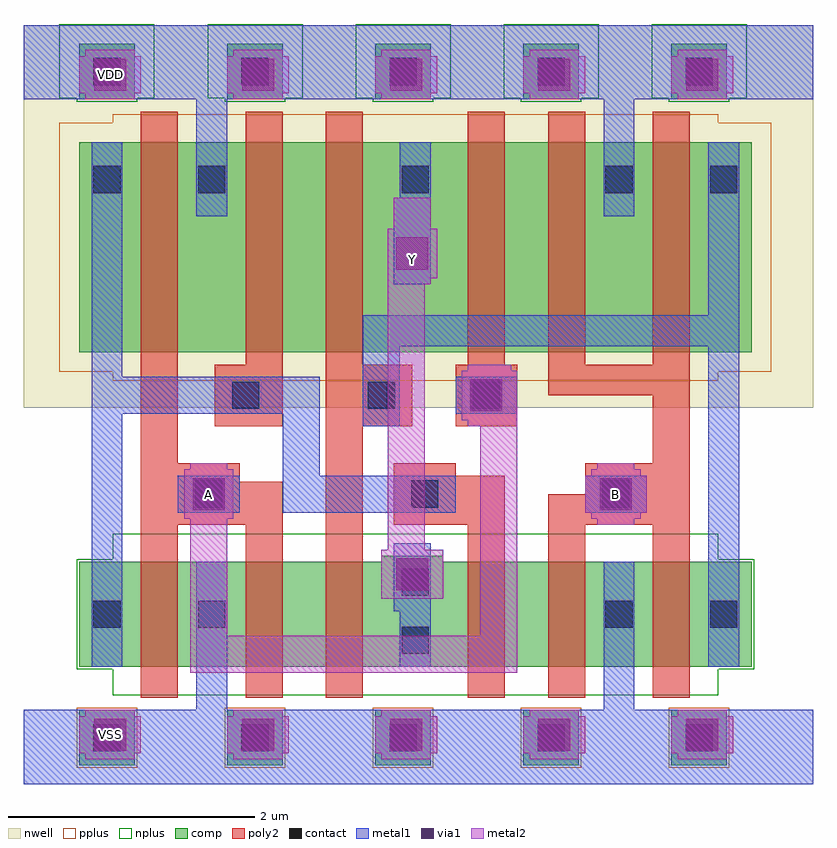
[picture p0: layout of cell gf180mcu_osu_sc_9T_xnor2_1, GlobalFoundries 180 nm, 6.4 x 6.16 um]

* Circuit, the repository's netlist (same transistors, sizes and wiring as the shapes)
* Copyright 2022 Google LLC
*
* Licensed under the Apache License, Version 2.0 (the "License");
* you may not use this file except in compliance with the License.
* You may obtain a copy of the License at
*
*      http://www.apache.org/licenses/LICENSE-2.0
*
* Unless required by applicable law or agreed to in writing, software
* distributed under the License is distributed on an "AS IS" BASIS,
* WITHOUT WARRANTIES OR CONDITIONS OF ANY KIND, either express or implied.
* See the License for the specific language governing permissions and
* limitations under the License.

.option scale=0.05u

.subckt gf180mcu_osu_sc_9T_xnor2_1 A Y B
X0 a_42_70 a_9_19 VDD VDD pmos_3p3 w=34 l=6
X1 Y a_49_14 a_42_70 VDD pmos_3p3 w=34 l=6
X2 a_49_14 B VDD VDD pmos_3p3 w=34 l=6
X3 VSS A a_9_19 VSS nmos_3p3 w=17 l=6
X4 VDD A a_9_19 VDD pmos_3p3 w=34 l=6
X5 a_78_19 a_9_19 Y VSS nmos_3p3 w=17 l=6
X6 VSS B a_78_19 VSS nmos_3p3 w=17 l=6
X7 a_78_70 A Y VDD pmos_3p3 w=34 l=6
X8 a_42_19 A VSS VSS nmos_3p3 w=17 l=6
X9 VDD B a_78_70 VDD pmos_3p3 w=34 l=6
X10 Y a_49_14 a_42_19 VSS nmos_3p3 w=17 l=6
X11 a_49_14 B VSS VSS nmos_3p3 w=17 l=6
.ends

** hspice subcircuit dictionary

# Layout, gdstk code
import gdstk
lib = gdstk.Library(unit=1e-6, precision=1e-09)
def R(c, l, rs):  # rectangles x0, y0, x1, y1
    for r in rs: c.add(gdstk.rectangle(r[:2], r[2:], *l))
def A(c, l, x, y, w, h, nx, ny, dx, dy):  # array of equal rectangles
    R(c, l, [(x+i*dx, y+j*dy, x+i*dx+w, y+j*dy+h) for i in range(nx) for j in range(ny)])
nwell = (21, 0)
comp = (22, 0)
poly2 = (30, 0)
pplus = (31, 0)
nplus = (32, 0)
contact = (33, 0)
metal1 = (34, 0)
via1 = (35, 0)
metal2 = (36, 0)

gf180mcu_osu_sc_9t_xnor2 = lib.new_cell('gf180mcu_osu_sc_9T_xnor2_1')
R(gf180mcu_osu_sc_9t_xnor2, nwell, [(0,3.05,6.4,6.15)])
A(gf180mcu_osu_sc_9t_xnor2, comp, 0.45, 0.15, 0.45, 0.45, 5, 2, 1.2, 5.4)
R(gf180mcu_osu_sc_9t_xnor2, comp, [(0.45,0.95,5.9,1.8), (2.9,1.8,3.4,1.85), (0.45,3.5,5.9,5.2)])
R(gf180mcu_osu_sc_9t_xnor2, poly2, [(0.95,0.7,1.25,2.1), (1.8,0.7,2.1,2.1), (2.45,0.7,2.75,2.9), (3.6,0.7,3.9,2.1), (4.25,0.7,4.55,2.1), (5.1,0.7,5.4,2.1), (0.95,2.1,2.1,2.45), (3,2.1,3.9,2.5), (4.25,2.1,5.4,2.35), (4.55,2.35,5.4,2.6), (0.95,2.45,1.75,2.6), (3,2.5,3.5,2.6), (0.95,2.6,1.25,5.45), (5.1,2.6,5.4,3.15), (1.55,2.9,2.1,3.4), (2.45,2.9,3.15,3.4), (3.5,2.9,4,3.4), (4.25,3.15,5.4,3.4), (1.8,3.4,2.1,5.45), (2.45,3.4,2.75,5.45), (3.6,3.4,3.9,5.45), (4.25,3.4,4.55,5.45), (5.1,3.4,5.4,5.45)])
A(gf180mcu_osu_sc_9t_xnor2, pplus, 0.43, 0.13, 0.49, 0.49, 5, 1, 1.2, 0)
R(gf180mcu_osu_sc_9t_xnor2, pplus, [(0.72,3.27,5.63,3.34), (0.29,3.34,6.06,5.36), (0.72,5.36,5.63,5.43)])
A(gf180mcu_osu_sc_9t_xnor2, nplus, 0.43, 5.53, 0.49, 0.03, 5, 1, 1.2, 0)
A(gf180mcu_osu_sc_9t_xnor2, nplus, 0.29, 5.56, 0.77, 0.6, 5, 1, 1.2, 0)
R(gf180mcu_osu_sc_9t_xnor2, nplus, [(0.72,0.72,5.63,0.93), (0.43,0.93,5.92,1.82), (0.72,1.82,5.63,2.03)])
A(gf180mcu_osu_sc_9t_xnor2, contact, 0.565, 0.265, 0.22, 0.22, 5, 2, 1.2, 5.4)
A(gf180mcu_osu_sc_9t_xnor2, contact, 1.415, 4.79, 0.22, 0.22, 3, 1, 1.65, 0)
R(gf180mcu_osu_sc_9t_xnor2, contact, [(3.065,1.055,3.285,1.275), (0.565,1.265,0.785,1.485), (1.415,1.265,1.635,1.485), (4.715,1.265,4.935,1.485), (5.565,1.265,5.785,1.485), (3.065,1.525,3.285,1.745), (1.39,2.24,1.61,2.46), (3.14,2.24,3.36,2.46), (4.69,2.24,4.91,2.46), (1.69,3.04,1.91,3.26), (2.79,3.04,3.01,3.26), (3.64,3.04,3.86,3.26), (0.565,4.79,0.785,5.01), (5.565,4.79,5.785,5.01)])
R(gf180mcu_osu_sc_9t_xnor2, metal1, [(0,0,6.4,0.6), (1.4,0.6,1.65,1.8), (4.7,0.6,4.95,1.8), (0.55,0.95,0.8,3), (3.05,0.95,3.3,1.4), (5.55,0.95,5.8,3.55), (3,1.4,3.3,1.95), (1.25,2.2,1.75,2.5), (2.1,2.2,3.5,2.5), (4.55,2.2,5.05,2.5), (2.1,2.5,2.4,3), (2.75,2.9,3.05,3.55), (0.55,3,2.4,3.3), (3.5,3,4,3.3), (0.55,3.3,0.8,5.2), (2.75,3.55,5.8,3.8), (5.55,3.8,5.8,5.2), (3,4.05,3.3,4.75), (1.4,4.6,1.65,5.55), (4.7,4.6,4.95,5.55), (3.05,4.75,3.3,5.2), (0,5.55,6.4,6.15)])
A(gf180mcu_osu_sc_9t_xnor2, via1, 0.57, 0.27, 0.26, 0.26, 5, 2, 1.2, 5.35)
R(gf180mcu_osu_sc_9t_xnor2, via1, [(3.02,1.57,3.28,1.83), (1.37,2.22,1.63,2.48), (4.67,2.22,4.93,2.48), (3.62,3.02,3.88,3.28), (3.02,4.17,3.28,4.43)])
A(gf180mcu_osu_sc_9t_xnor2, metal2, 0.5, 0.2, 0.4, 0.05, 5, 2, 1.2, 0.35)
A(gf180mcu_osu_sc_9t_xnor2, metal2, 0.45, 0.25, 0.5, 0.3, 5, 2, 1.2, 5.35)
A(gf180mcu_osu_sc_9t_xnor2, metal2, 0.5, 5.55, 0.4, 0.05, 5, 2, 1.2, 0.35)
R(gf180mcu_osu_sc_9t_xnor2, metal2, [(1.35,0.9,4,1.2), (1.35,1.2,1.65,2.15), (3.7,1.2,4,2.9), (2.9,1.5,3.4,1.9), (2.95,1.9,3.25,4.05), (4.65,2.1,4.95,2.15), (1.3,2.15,1.7,2.55), (4.6,2.15,5,2.2), (4.55,2.2,5.05,2.5), (4.6,2.5,5,2.55), (1.35,2.55,1.65,2.6), (4.65,2.55,4.95,2.6), (3.6,2.9,4,2.95), (3.55,2.95,4,3.35), (3.6,3.35,3.95,3.4), (2.95,4.05,3.3,4.1), (2.95,4.1,3.35,4.5), (3,4.5,3.3,4.75)])
gf180mcu_osu_sc_9t_xnor2.add(gdstk.Label('VDD', (0.7,5.75), layer=36, texttype=0))
gf180mcu_osu_sc_9t_xnor2.add(gdstk.Label('VSS', (0.7,0.4), layer=36, texttype=0))
gf180mcu_osu_sc_9t_xnor2.add(gdstk.Label('A', (1.5,2.35), layer=36, texttype=10))
gf180mcu_osu_sc_9t_xnor2.add(gdstk.Label('Y', (3.15,4.25), layer=36, texttype=10))
gf180mcu_osu_sc_9t_xnor2.add(gdstk.Label('B', (4.8,2.35), layer=36, texttype=10))

lib.write_gds('gf180mcu_osu_sc_9T_xnor2_1.gds')
